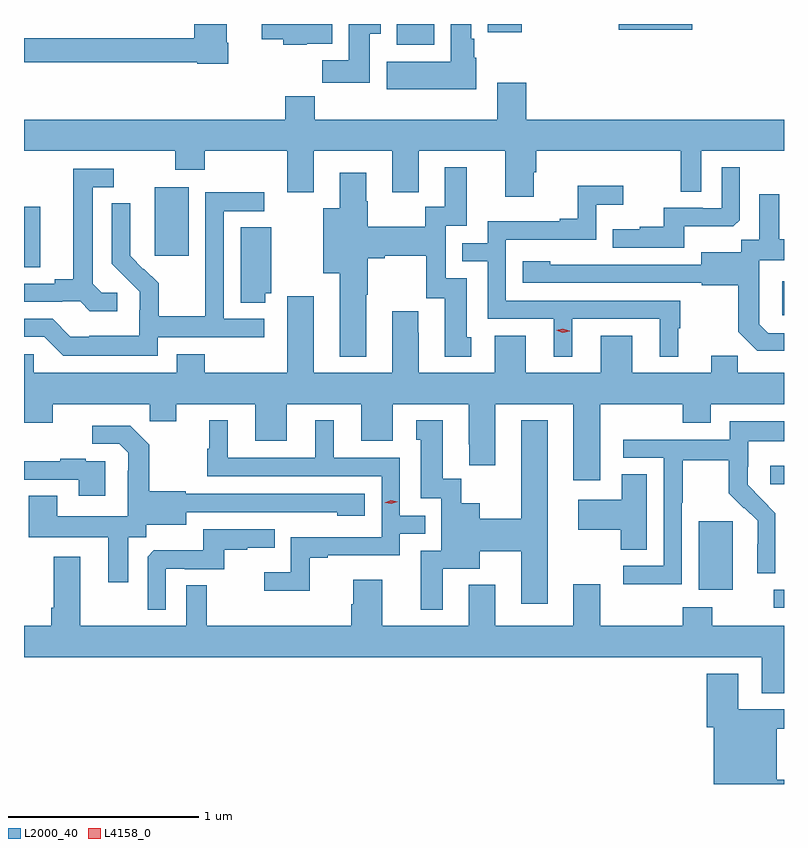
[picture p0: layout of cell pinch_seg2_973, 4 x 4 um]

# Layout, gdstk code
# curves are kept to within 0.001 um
import gdstk
lib = gdstk.Library(unit=1e-6, precision=1e-09)
def R(c, l, rs):  # rectangles x0, y0, x1, y1
    for r in rs: c.add(gdstk.rectangle(r[:2], r[2:], *l))
def P(c, l, *ps):  # polygons
    for p in ps: c.add(gdstk.Polygon(p, *l))
L2000_40 = (2000, 40)
L4158_0 = (4158, 0)

pinch_seg2_973 = lib.new_cell('pinch_seg2_973')
R(pinch_seg2_973, L2000_40, [(197.019,649.227,197.073,649.323), (196.625,649.322,196.804,649.683), (197.001,649.878,197.073,649.975), (197.063,650.766,197.073,650.947), (193.073,651.019,193.159,651.339), (193.76,651.081,193.939,651.442), (195.035,652.19,195.232,652.3), (195.515,652.256,195.694,652.3), (196.202,652.27,196.591,652.3)])
P(pinch_seg2_973, L2000_40, [(195.454,652.122),(195.442,652.122),(195.442,652.222),(195.427,652.222),(195.427,652.3),(195.32,652.3),(195.32,652.102),(194.981,652.102),(194.981,651.956),(195.454,651.956)],
  [(194.562,652.196),(194.695,652.196),(194.695,652.3),(194.325,652.3),(194.325,652.219),(194.437,652.219),(194.437,652.19),(194.562,652.19)],
  [(194.893,652.249),(194.95,652.249),(194.95,652.3),(194.783,652.3),(194.783,652.108),(194.644,652.108),(194.644,651.99),(194.893,651.99)],
  [(194.148,652.201),(194.14,652.201),(194.14,652.3),(193.97,652.3),(193.97,652.226),(193.073,652.226),(193.073,652.098),(193.986,652.098),(193.986,652.09),(194.148,652.09)],
  [(195.757,651.519),(195.77,651.519),(195.77,651.632),(196.53,651.632),(196.53,651.418),(196.638,651.418),(196.638,651.632),(197.073,651.632),(197.073,651.796),(195.716,651.796),(195.716,651.991),(195.563,651.991),(195.563,651.796),(194.603,651.796),(194.603,651.92),(194.447,651.92),(194.447,651.796),(193.073,651.796),(193.073,651.632),(193.87,651.632),(193.87,651.533),(194.025,651.533),(194.025,651.632),(194.459,651.632),(194.459,651.414),(194.599,651.414),(194.599,651.632),(195.011,651.632),(195.011,651.414),(195.151,651.414),(195.151,651.632),(195.605,651.632),(195.605,651.39),(195.757,651.39)],
  [(196.549,651.236),(196.807,651.236),(196.839,651.267),(196.839,651.547),(196.746,651.547),(196.746,651.33),(196.646,651.33),(196.646,651.333),(196.439,651.333),(196.439,651.232),(196.315,651.232),(196.315,651.22),(196.171,651.22),(196.171,651.123),(196.549,651.123)],
  [(194.875,650.875),(194.883,650.875),(194.883,651.068),(194.971,651.068),(194.971,651.08),(195.191,651.08),(195.191,650.856),(195.287,650.856),(195.287,650.55),(195.427,650.55),(195.427,650.652),(195.403,650.652),(195.403,650.961),(195.294,650.961),(195.294,651.237),(195.403,651.237),(195.403,651.547),(195.287,651.547),(195.287,651.338),(195.186,651.338),(195.186,651.232),(194.883,651.232),(194.883,651.366),(194.875,651.366),(194.875,651.517),(194.735,651.517),(194.735,651.331),(194.648,651.331),(194.648,650.987),(194.735,650.987),(194.735,650.549),(194.875,650.549)],
  [(193.564,650.886),(193.482,650.886),(193.435,650.933),(193.435,651.441),(193.546,651.441),(193.546,651.537),(193.331,651.537),(193.331,650.957),(193.235,650.957),(193.235,650.934),(193.073,650.934),(193.073,650.838),(193.274,650.838),(193.274,650.841),(193.368,650.841),(193.42,650.789),(193.564,650.789)],
  [(195.958,650.748),(196.418,650.748),(196.418,650.549),(196.516,650.549),(196.516,650.7),(196.528,650.7),(196.528,650.844),(195.609,650.844),(195.609,651.165),(196.086,651.165),(196.086,651.35),(196.228,651.35),(196.228,651.449),(195.988,651.449),(195.988,651.274),(195.893,651.274),(195.893,651.261),(195.513,651.261),(195.513,651.147),(195.379,651.147),(195.379,651.051),(195.513,651.051),(195.513,650.748),(195.86,650.748),(195.86,650.549),(195.958,650.549)],
  [(193.776,650.652),(194.338,650.652),(194.338,650.748),(194.124,650.748),(194.124,651.315),(194.338,651.315),(194.338,651.414),(194.028,651.414),(194.028,650.984),(194.026,650.984),(194.026,650.761),(193.781,650.761),(193.781,650.935),(193.704,651.012),(193.701,651.009),(193.631,651.08),(193.632,651.356),(193.536,651.356),(193.536,651.038),(193.682,650.89),(193.682,650.793),(193.68,650.793),(193.68,650.659),(193.417,650.659),(193.417,650.655),(193.317,650.655),(193.224,650.748),(193.073,650.748),(193.073,650.655),(193.179,650.655),(193.279,650.555),(193.776,650.555)],
  [(197.073,650.673),(196.989,650.673),(196.942,650.72),(196.942,650.815),(196.944,650.815),(196.944,651.056),(197.073,651.056),(197.073,651.166),(197.047,651.166),(197.047,651.403),(196.943,651.403),(196.943,651.164),(196.848,651.164),(196.848,651.1),(196.637,651.1),(196.637,651.033),(195.843,651.034),(195.843,651.052),(195.699,651.052),(195.699,650.937),(196.641,650.937),(196.641,650.925),(196.833,650.925),(196.833,650.679),(196.933,650.579),(197.073,650.579)],
  [(194.344,650.882),(194.374,650.882),(194.374,651.23),(194.213,651.23),(194.213,650.833),(194.344,650.833)],
  [(195.551,650.659),(195.551,650.464),(195.151,650.464),(195.151,650.675),(195.148,650.675),(195.148,650.788),(195.011,650.788),(195.011,650.464),(194.599,650.464),(194.599,650.866),(194.459,650.866),(194.459,650.464),(194.025,650.464),(194.025,650.563),(193.877,650.563),(193.877,650.464),(193.125,650.464),(193.125,650.562),(193.073,650.562),(193.073,650.201),(193.225,650.201),(193.225,650.3),(193.735,650.3),(193.735,650.21),(193.873,650.21),(193.873,650.3),(194.291,650.3),(194.291,650.106),(194.455,650.106),(194.455,650.3),(194.849,650.3),(194.849,650.106),(195.013,650.106),(195.013,650.3),(195.413,650.3),(195.413,650.089),(195.416,650.089),(195.416,649.977),(195.553,649.977),(195.553,650.3),(195.965,650.3),(195.965,649.899),(196.105,649.899),(196.105,650.3),(196.54,650.3),(196.54,650.201),(196.687,650.201),(196.687,650.3),(197.073,650.3),(197.073,650.464),(196.829,650.464),(196.829,650.555),(196.691,650.555),(196.691,650.464),(196.273,650.464),(196.273,650.659),(196.109,650.659),(196.109,650.464),(195.715,650.464),(195.715,650.659)],
  [(195.277,649.433),(195.472,649.433),(195.472,649.525),(195.689,649.525),(195.689,649.248),(195.829,649.248),(195.829,650.215),(195.689,650.215),(195.689,649.697),(195.472,649.697),(195.472,649.777),(195.375,649.777),(195.375,649.907),(195.277,649.907),(195.277,650.215),(195.137,650.215),(195.137,650.112),(195.161,650.112),(195.161,649.803),(195.27,649.803),(195.27,649.527),(195.161,649.527),(195.161,649.218),(195.277,649.218)],
  [(194.577,649.491),(194.671,649.491),(194.671,649.503),(195.051,649.503),(195.051,649.617),(195.184,649.617),(195.184,649.713),(195.051,649.713),(195.051,650.016),(194.704,650.016),(194.704,650.215),(194.606,650.215),(194.606,650.016),(194.146,650.016),(194.146,650.215),(194.048,650.215),(194.048,650.064),(194.037,650.064),(194.037,649.92),(194.955,649.92),(194.955,649.599),(194.478,649.599),(194.478,649.414),(194.337,649.414),(194.337,649.316),(194.577,649.316)],
  [(196.536,649.78),(196.539,649.78),(196.539,650.004),(196.783,650.004),(196.783,649.829),(196.86,649.752),(196.863,649.755),(196.934,649.685),(196.934,649.562),(196.932,649.562),(196.932,649.408),(197.028,649.408),(197.028,649.726),(196.882,649.874),(196.882,649.971),(196.884,649.971),(196.884,650.105),(197.073,650.105),(197.073,650.209),(196.788,650.209),(196.788,650.112),(196.227,650.112),(196.227,650.016),(196.44,650.016),(196.44,649.449),(196.227,649.449),(196.227,649.351),(196.536,649.351)],
  [(193.621,649.6),(193.716,649.6),(193.716,649.664),(193.927,649.664),(193.927,649.731),(194.721,649.73),(194.721,649.712),(194.866,649.712),(194.866,649.827),(193.923,649.827),(193.923,649.84),(193.731,649.84),(193.731,650.085),(193.631,650.185),(193.431,650.185),(193.431,650.091),(193.575,650.091),(193.622,650.044),(193.622,649.949),(193.62,649.949),(193.62,649.708),(193.249,649.708),(193.249,649.817),(193.097,649.817),(193.097,649.598),(193.517,649.598),(193.517,649.362),(193.621,649.362)],
  [(193.501,649.998),(193.397,649.998),(193.397,650.011),(193.265,650.011),(193.265,650),(193.073,650),(193.073,649.902),(193.361,649.902),(193.361,649.818),(193.501,649.818)],
  [(196.351,649.931),(196.22,649.931),(196.22,649.795),(195.99,649.795),(195.99,649.637),(196.213,649.637),(196.213,649.534),(196.351,649.534)],
  [(193.818,649.434),(193.918,649.434),(193.918,649.431),(194.126,649.431),(194.126,649.533),(194.249,649.533),(194.249,649.544),(194.393,649.544),(194.393,649.641),(194.016,649.641),(194.016,649.529),(193.757,649.529),(193.725,649.497),(193.725,649.217),(193.818,649.217)],
  [(196.955,648.778),(197.073,648.778),(197.073,649.132),(196.695,649.132),(196.695,649.231),(196.54,649.231),(196.54,649.132),(196.105,649.132),(196.105,649.351),(195.965,649.351),(195.965,649.132),(195.553,649.132),(195.553,649.348),(195.413,649.348),(195.413,649.132),(194.959,649.132),(194.959,649.375),(194.807,649.375),(194.807,649.245),(194.795,649.245),(194.795,649.132),(194.035,649.132),(194.035,649.346),(193.926,649.346),(193.926,649.132),(193.369,649.132),(193.369,649.495),(193.229,649.495),(193.229,649.228),(193.217,649.228),(193.217,649.132),(193.073,649.132),(193.073,648.968),(196.955,648.968)],
  [(197.073,648.322),(197.035,648.322),(197.035,648.592),(197.073,648.592),(197.073,648.693),(196.831,648.693),(196.831,648.88),(196.667,648.88),(196.667,648.6),(196.703,648.6),(196.703,648.3),(197.073,648.3)])
P(pinch_seg2_973, L4158_0, [(195.006,649.774),(194.971,649.781),(194.97,649.781),(194.971,649.781),(195.004,649.794),(195.039,649.786),(195.04,649.786),(195.039,649.786)],
  [(195.909,650.676),(195.873,650.687),(195.873,650.687),(195.873,650.687),(195.909,650.696),(195.945,650.685),(195.945,650.684),(195.945,650.684)])

lib.write_gds('pinch_seg2_973.gds')
